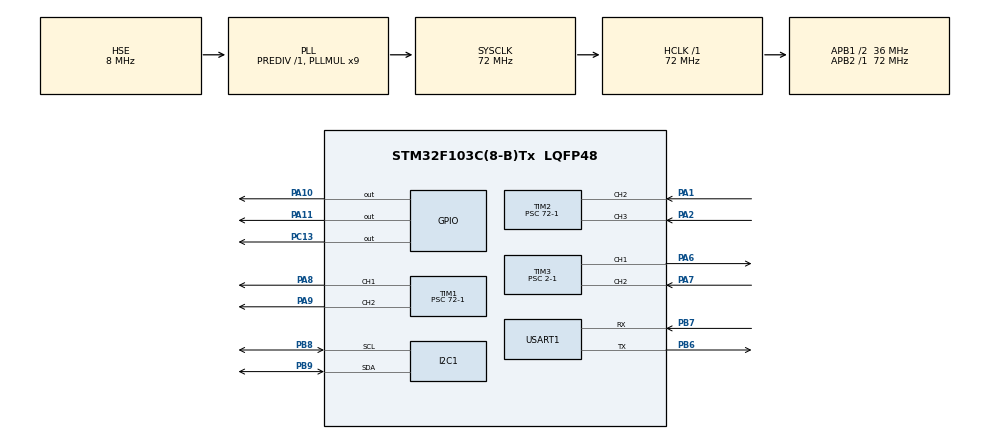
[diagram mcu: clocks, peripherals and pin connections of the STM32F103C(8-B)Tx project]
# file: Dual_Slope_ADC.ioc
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I2C1.I2C_Mode=I2C_Fast
Mcu.Family=STM32F1
Mcu.Name=STM32F103C(8-B)Tx
Mcu.Package=LQFP48
NVIC.PriorityGroup=NVIC_PRIORITYGROUP_4
NVIC.TIM2_IRQn=true\:0\:0\:false\:false\:true\:true\:true
PA1.Signal=S_TIM2_CH2
PA10.GPIO_Speed=GPIO_SPEED_FREQ_HIGH
PA10.Signal=GPIO_Output
PA11.GPIO_Speed=GPIO_SPEED_FREQ_HIGH
PA11.Signal=GPIO_Output
PA13.Mode=Serial_Wire
PA13.Signal=SYS_JTMS-SWDIO
PA14.Mode=Serial_Wire
PA14.Signal=SYS_JTCK-SWCLK
PA2.Signal=S_TIM2_CH3
PA6.Signal=S_TIM3_CH1
PA7.Signal=S_TIM3_CH2
PA8.Signal=S_TIM1_CH1
PA9.Signal=S_TIM1_CH2
PB6.Mode=Asynchronous
PB6.Signal=USART1_TX
PB7.Mode=Asynchronous
PB7.Signal=USART1_RX
PB8.Mode=I2C
PB8.Signal=I2C1_SCL
PB9.Mode=I2C
PB9.Signal=I2C1_SDA
PC13-TAMPER-RTC.Signal=GPIO_Output
PD0-OSC_IN.Mode=HSE-External-Oscillator
PD0-OSC_IN.Signal=RCC_OSC_IN
PD1-OSC_OUT.Mode=HSE-External-Oscillator
PD1-OSC_OUT.Signal=RCC_OSC_OUT
ProjectManager.HeapSize=0x200
ProjectManager.StackSize=0x400
ProjectManager.TargetToolchain=STM32CubeIDE
RCC.AHBFreq_Value=72000000
RCC.APB1CLKDivider=RCC_HCLK_DIV2
RCC.APB1Freq_Value=36000000
RCC.APB1TimFreq_Value=72000000
RCC.APB2Freq_Value=72000000
RCC.APB2TimFreq_Value=72000000
RCC.HCLKFreq_Value=72000000
RCC.PLLMUL=RCC_PLL_MUL9
RCC.PLLSourceVirtual=RCC_PLLSOURCE_HSE
RCC.SYSCLKFreq_VALUE=72000000
RCC.SYSCLKSource=RCC_SYSCLKSOURCE_PLLCLK
RCC.USBFreq_Value=72000000
SH.S_TIM1_CH1.0=TIM1_CH1,PWM Generation1 CH1
SH.S_TIM1_CH2.0=TIM1_CH2,PWM Generation2 CH2
SH.S_TIM2_CH2.0=TIM2_CH2,Input_Capture2_from_TI2
SH.S_TIM2_CH3.0=TIM2_CH3,Input_Capture3_from_TI3
SH.S_TIM3_CH1.0=TIM3_CH1,PWM Generation1 CH1
SH.S_TIM3_CH2.0=TIM3_CH2,TriggerSource_TI2FP2
TIM1.Channel-PWM\ Generation1\ CH1=TIM_CHANNEL_1
TIM1.Channel-PWM\ Generation2\ CH2=TIM_CHANNEL_2
TIM1.Period=100
TIM1.Prescaler=72-1
TIM1.Pulse-PWM\ Generation1\ CH1=50
TIM1.Pulse-PWM\ Generation2\ CH2=360
TIM2.Channel-Input_Capture2_from_TI2=TIM_CHANNEL_2
TIM2.Channel-Input_Capture3_from_TI3=TIM_CHANNEL_3
TIM2.ICPolarity_CH2=TIM_INPUTCHANNELPOLARITY_FALLING
TIM2.ICPolarity_CH3=TIM_INPUTCHANNELPOLARITY_RISING
TIM2.Period=1000
TIM2.Prescaler=72-1
TIM3.Channel-PWM\ Generation1\ CH1=TIM_CHANNEL_1
TIM3.OCFastMode_PWM-PWM\ Generation1\ CH1=TIM_OCFAST_ENABLE
TIM3.OCMode_PWM-PWM\ Generation1\ CH1=TIM_OCMODE_PWM2
TIM3.Period=3600
TIM3.Prescaler=2-1
TIM3.Pulse-PWM\ Generation1\ CH1=36
USART1.VirtualMode=VM_ASYNC
VP_TIM1_VS_ClockSourceINT.Mode=Internal
VP_TIM3_VS_ClockSourceINT.Mode=Internal
VP_TIM3_VS_ControllerModeTrigger.Mode=Trigger Mode
VP_TIM3_VS_OPM.Mode=OPM_bit
board=custom

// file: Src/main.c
/* USER CODE BEGIN Header */
/**
  ******************************************************************************
  * @file           : main.c
  * @brief          : Main program body
  ******************************************************************************
  * @attention
  *
  * <h2><center>&copy; Copyright (c) 2019 STMicroelectronics.
  * All rights reserved.</center></h2>
  *
  * This software component is licensed by ST under BSD 3-Clause license,
  * the "License"; You may not use this file except in compliance with the
  * License. You may obtain a copy of the License at:
  *                        opensource.org/licenses/BSD-3-Clause
  *
  ******************************************************************************
  */
/* USER CODE END Header */

#include "main.h"

/* USER CODE BEGIN Includes */

//#include "led.h"
//#include "bar_graph.h"
#include <stdio.h>
/* USER CODE END Includes */

/* USER CODE BEGIN PM */
uint32_t IC_Value = 0;
uint32_t Timer2_overflow =0;
/* USER CODE END PM */

I2C_HandleTypeDef hi2c1;

TIM_HandleTypeDef htim1;
TIM_HandleTypeDef htim2;
TIM_HandleTypeDef htim3;

UART_HandleTypeDef huart1;

/* USER CODE BEGIN PV */
uint8_t GPIO_TI_FLAG = 0;
int callTime = 0;
/* USER CODE END PV */

void SystemClock_Config(void);
static void MX_GPIO_Init(void);
static void MX_TIM2_Init(void);
static void MX_I2C1_Init(void);
static void MX_TIM3_Init(void);
static void MX_TIM1_Init(void);
static void MX_USART1_UART_Init(void);
/* USER CODE BEGIN PFP */
void hardwareInit(GPIO_TypeDef *MuxGPIOx, uint16_t MuxGPIO_Pin, GPIO_TypeDef *BjtGPIOx, uint16_t BjtGPIO_Pin);
void getCounterValue(TIM_HandleTypeDef *htim);
double convertTimerValueToVoltage(float Vref, float dischargeTime_us, float chargeTimeFix_us);
/* USER CODE END PFP */

/* USER CODE BEGIN 0 */

/**
  * @brief  Initializes the hardware by disable the multiplexer (not receive Vin and Vref) and
  *         enable the BJT (to input a voltage (3V) to charge up capacitor then
  *         switch back to multiplexer input ( Vref of capacitor to discharge) by
  *         enable multiplexer and disable forever the BJT.
  * @param  MuxGPIOx: where x can be (A..G depending on device used) to select the GPIO peripheral
  * @param  MuxGPIO_Pin: specifies the port bit to be written.
  *         This parameter can be one of GPIO_PIN_x where x can be (0..15).
  * @param  BjtGPIOx: where x can be (A..G depending on device used) to select the GPIO peripheral
  * @param  BjtGPIO_Pin: specifies the port bit to be written.
  *         This parameter can be one of GPIO_PIN_x where x can be (0..15).
  * @retval None
  */
void hardwareInit(GPIO_TypeDef *MuxGPIOx, uint16_t MuxGPIO_Pin, GPIO_TypeDef *BjtGPIOx, uint16_t BjtGPIO_Pin)
{

	HAL_GPIO_WritePin(MuxGPIOx, MuxGPIO_Pin, GPIO_PIN_RESET);  	//disable Multiplexer
	HAL_GPIO_WritePin(BjtGPIOx, BjtGPIO_Pin, GPIO_PIN_RESET);	//enable bjt
	HAL_Delay(1000);
	HAL_GPIO_TogglePin(BjtGPIOx, BjtGPIO_Pin);	//disable bjt
	HAL_GPIO_TogglePin(MuxGPIOx, MuxGPIO_Pin);	//enable Multiplexer (select 0 for Vref -1V)
}

/**
  * @brief  To calculate the Voltage value base on the fixed capacitor charging time,
  *         discharging time and the Vref (-1V in this case).
  *
  *         Formula:
  *         dischargeTime			 Vin
  *         -------------	=	-------------
  *         chargeTimeFix			-Vref
  *
  * @param  Vref: -1V in this case just ignore -VE and put (1).
  * @param  dischargeTime_us: the value of capacitor discharge in micro second.
  * @param  chargeTimeFix_us: a fix value for capacitor charge Time
  * 		which is 100us in this charge just put (100).
  * @retval result voltage value, data type is double.
  */
double convertTimerValueToVoltage(float Vref, float dischargeTime_us, float chargeTimeFix_us)
{
	return (((dischargeTime_us*1.0f)/(chargeTimeFix_us*1.0f))*Vref);
}

/**
  * @brief  Get Input Capture value according to the specified Channels:
  *         Channels 2 to reset Timer value when detect falling edge.
  *         Channels 3 to Capture Timer value when detect raising edge.
  * @param  htim TIM IC handle in this case is Timer2.
  * @retval None
  */
void getCounterValue(TIM_HandleTypeDef *htim)
{
	if (htim -> Channel == HAL_TIM_ACTIVE_CHANNEL_2)// if the interrupt source is channel2(falling edge)
	{
		__HAL_TIM_SET_COUNTER(htim, 0);// reset the counter
	}
	else if(htim -> Channel == HAL_TIM_ACTIVE_CHANNEL_3)// if the interrupt source is channel3(raising edge)
	{
		IC_Value = HAL_TIM_ReadCapturedValue(htim, TIM_CHANNEL_3);
	}
	else
	{
		IC_Value = 0;
	}
}

void HAL_TIM_IC_CaptureCallback(TIM_HandleTypeDef *htim)
{
	getCounterValue(htim);
}

void HAL_TIM_PeriodElapsedCallback(TIM_HandleTypeDef *htim)
{
	if(htim->Instance == TIM2)
	{
		Timer2_overflow++;
	}
}
/* USER CODE END 0 */

int main(void)
{

  /* MCU Configuration--------------------------------------------------------*/

  /* Reset of all peripherals, Initializes the Flash interface and the Systick. */
  HAL_Init();

  /* USER CODE BEGIN Init */
    uint16_t Result;
    char str_buff [50];
    double voltage = 0;
  /* USER CODE END Init */

  /* Configure the system clock */
  SystemClock_Config();

  /* Initialize all configured peripherals */
  MX_GPIO_Init();
  MX_TIM2_Init();
  MX_I2C1_Init();
  MX_TIM3_Init();
  MX_TIM1_Init();
  MX_USART1_UART_Init();
  /* USER CODE BEGIN 2 */
    HAL_TIM_Base_Start_IT(&htim2);
    HAL_TIM_PWM_Start(&htim1, TIM_CHANNEL_1);
    HAL_TIM_IC_Start_IT(&htim2, TIM_CHANNEL_2);
    HAL_TIM_IC_Start_IT(&htim2, TIM_CHANNEL_3);
    HAL_TIM_OnePulse_Start(&htim3, TIM_CHANNEL_1);

    hardwareInit(GPIOA, GPIO_PIN_10,GPIOA, GPIO_PIN_11);
  /* USER CODE END 2 */

  /* Infinite loop */
  while (1)
  {

    /* USER CODE BEGIN 3 */
	if(Timer2_overflow >= 2000)
	{
	  hardwareInit(GPIOA, GPIO_PIN_10,GPIOA, GPIO_PIN_11);
	  Timer2_overflow = 0;
	  IC_Value = 0;
	}
	  Result = IC_Value;
	  voltage = convertTimerValueToVoltage(1, (float)Result ,100);
	  sprintf( (char*)str_buff, " Discharge Time is: %d , Voltage : %.2f\n", Result,voltage);
	  HAL_UART_Transmit(&huart1, (uint8_t*)str_buff, sizeof(str_buff), 100);
	  HAL_Delay (500);
  }
  /* USER CODE END 3 */
}

void SystemClock_Config(void)
{
  RCC_OscInitTypeDef RCC_OscInitStruct = {0};
  RCC_ClkInitTypeDef RCC_ClkInitStruct = {0};

  /** Initializes the CPU, AHB and APB busses clocks
  */
  RCC_OscInitStruct.OscillatorType = RCC_OSCILLATORTYPE_HSE;
  RCC_OscInitStruct.HSEState = RCC_HSE_ON;
  RCC_OscInitStruct.HSEPredivValue = RCC_HSE_PREDIV_DIV1;
  RCC_OscInitStruct.HSIState = RCC_HSI_ON;
  RCC_OscInitStruct.PLL.PLLState = RCC_PLL_ON;
  RCC_OscInitStruct.PLL.PLLSource = RCC_PLLSOURCE_HSE;
  RCC_OscInitStruct.PLL.PLLMUL = RCC_PLL_MUL9;
  if (HAL_RCC_OscConfig(&RCC_OscInitStruct) != HAL_OK)
  {
    Error_Handler();
  }
  /** Initializes the CPU, AHB and APB busses clocks
  */
  RCC_ClkInitStruct.ClockType = RCC_CLOCKTYPE_HCLK|RCC_CLOCKTYPE_SYSCLK
                              |RCC_CLOCKTYPE_PCLK1|RCC_CLOCKTYPE_PCLK2;
  RCC_ClkInitStruct.SYSCLKSource = RCC_SYSCLKSOURCE_PLLCLK;
  RCC_ClkInitStruct.AHBCLKDivider = RCC_SYSCLK_DIV1;
  RCC_ClkInitStruct.APB1CLKDivider = RCC_HCLK_DIV2;
  RCC_ClkInitStruct.APB2CLKDivider = RCC_HCLK_DIV1;

  if (HAL_RCC_ClockConfig(&RCC_ClkInitStruct, FLASH_LATENCY_2) != HAL_OK)
  {
    Error_Handler();
  }
}

static void MX_I2C1_Init(void)
{

  hi2c1.Instance = I2C1;
  hi2c1.Init.ClockSpeed = 400000;
  hi2c1.Init.DutyCycle = I2C_DUTYCYCLE_2;
  hi2c1.Init.OwnAddress1 = 0;
  hi2c1.Init.AddressingMode = I2C_ADDRESSINGMODE_7BIT;
  hi2c1.Init.DualAddressMode = I2C_DUALADDRESS_DISABLE;
  hi2c1.Init.OwnAddress2 = 0;
  hi2c1.Init.GeneralCallMode = I2C_GENERALCALL_DISABLE;
  hi2c1.Init.NoStretchMode = I2C_NOSTRETCH_DISABLE;
  if (HAL_I2C_Init(&hi2c1) != HAL_OK)
  {
    Error_Handler();
  }

}

static void MX_TIM1_Init(void)
{

  TIM_ClockConfigTypeDef sClockSourceConfig = {0};
  TIM_MasterConfigTypeDef sMasterConfig = {0};
  TIM_OC_InitTypeDef sConfigOC = {0};
  TIM_BreakDeadTimeConfigTypeDef sBreakDeadTimeConfig = {0};

  htim1.Instance = TIM1;
  htim1.Init.Prescaler = 72-1;
  htim1.Init.CounterMode = TIM_COUNTERMODE_UP;
  htim1.Init.Period = 100;
  htim1.Init.ClockDivision = TIM_CLOCKDIVISION_DIV1;
  htim1.Init.RepetitionCounter = 0;
  htim1.Init.AutoReloadPreload = TIM_AUTORELOAD_PRELOAD_DISABLE;
  if (HAL_TIM_Base_Init(&htim1) != HAL_OK)
  {
    Error_Handler();
  }
  sClockSourceConfig.ClockSource = TIM_CLOCKSOURCE_INTERNAL;
  if (HAL_TIM_ConfigClockSource(&htim1, &sClockSourceConfig) != HAL_OK)
  {
    Error_Handler();
  }
  if (HAL_TIM_PWM_Init(&htim1) != HAL_OK)
  {
    Error_Handler();
  }
  sMasterConfig.MasterOutputTrigger = TIM_TRGO_RESET;
  sMasterConfig.MasterSlaveMode = TIM_MASTERSLAVEMODE_DISABLE;
  if (HAL_TIMEx_MasterConfigSynchronization(&htim1, &sMasterConfig) != HAL_OK)
  {
    Error_Handler();
  }
  sConfigOC.OCMode = TIM_OCMODE_PWM1;
  sConfigOC.Pulse = 50;
  sConfigOC.OCPolarity = TIM_OCPOLARITY_HIGH;
  sConfigOC.OCNPolarity = TIM_OCNPOLARITY_HIGH;
  sConfigOC.OCFastMode = TIM_OCFAST_DISABLE;
  sConfigOC.OCIdleState = TIM_OCIDLESTATE_RESET;
  sConfigOC.OCNIdleState = TIM_OCNIDLESTATE_RESET;
  if (HAL_TIM_PWM_ConfigChannel(&htim1, &sConfigOC, TIM_CHANNEL_1) != HAL_OK)
  {
    Error_Handler();
  }
  sConfigOC.Pulse = 360;
  if (HAL_TIM_PWM_ConfigChannel(&htim1, &sConfigOC, TIM_CHANNEL_2) != HAL_OK)
  {
    Error_Handler();
  }
  sBreakDeadTimeConfig.OffStateRunMode = TIM_OSSR_DISABLE;
  sBreakDeadTimeConfig.OffStateIDLEMode = TIM_OSSI_DISABLE;
  sBreakDeadTimeConfig.LockLevel = TIM_LOCKLEVEL_OFF;
  sBreakDeadTimeConfig.DeadTime = 0;
  sBreakDeadTimeConfig.BreakState = TIM_BREAK_DISABLE;
  sBreakDeadTimeConfig.BreakPolarity = TIM_BREAKPOLARITY_HIGH;
  sBreakDeadTimeConfig.AutomaticOutput = TIM_AUTOMATICOUTPUT_DISABLE;
  if (HAL_TIMEx_ConfigBreakDeadTime(&htim1, &sBreakDeadTimeConfig) != HAL_OK)
  {
    Error_Handler();
  }
  HAL_TIM_MspPostInit(&htim1);

}

static void MX_TIM2_Init(void)
{

  TIM_MasterConfigTypeDef sMasterConfig = {0};
  TIM_IC_InitTypeDef sConfigIC = {0};

  htim2.Instance = TIM2;
  htim2.Init.Prescaler = 72-1;
  htim2.Init.CounterMode = TIM_COUNTERMODE_UP;
  htim2.Init.Period = 1000;
  htim2.Init.ClockDivision = TIM_CLOCKDIVISION_DIV1;
  htim2.Init.AutoReloadPreload = TIM_AUTORELOAD_PRELOAD_DISABLE;
  if (HAL_TIM_IC_Init(&htim2) != HAL_OK)
  {
    Error_Handler();
  }
  sMasterConfig.MasterOutputTrigger = TIM_TRGO_RESET;
  sMasterConfig.MasterSlaveMode = TIM_MASTERSLAVEMODE_DISABLE;
  if (HAL_TIMEx_MasterConfigSynchronization(&htim2, &sMasterConfig) != HAL_OK)
  {
    Error_Handler();
  }
  sConfigIC.ICPolarity = TIM_INPUTCHANNELPOLARITY_FALLING;
  sConfigIC.ICSelection = TIM_ICSELECTION_DIRECTTI;
  sConfigIC.ICPrescaler = TIM_ICPSC_DIV1;
  sConfigIC.ICFilter = 0;
  if (HAL_TIM_IC_ConfigChannel(&htim2, &sConfigIC, TIM_CHANNEL_2) != HAL_OK)
  {
    Error_Handler();
  }
  sConfigIC.ICPolarity = TIM_INPUTCHANNELPOLARITY_RISING;
  if (HAL_TIM_IC_ConfigChannel(&htim2, &sConfigIC, TIM_CHANNEL_3) != HAL_OK)
  {
    Error_Handler();
  }

}

static void MX_TIM3_Init(void)
{

  TIM_ClockConfigTypeDef sClockSourceConfig = {0};
  TIM_SlaveConfigTypeDef sSlaveConfig = {0};
  TIM_MasterConfigTypeDef sMasterConfig = {0};
  TIM_OC_InitTypeDef sConfigOC = {0};

  htim3.Instance = TIM3;
  htim3.Init.Prescaler = 2-1;
  htim3.Init.CounterMode = TIM_COUNTERMODE_UP;
  htim3.Init.Period = 3600;
  htim3.Init.ClockDivision = TIM_CLOCKDIVISION_DIV1;
  htim3.Init.AutoReloadPreload = TIM_AUTORELOAD_PRELOAD_DISABLE;
  if (HAL_TIM_Base_Init(&htim3) != HAL_OK)
  {
    Error_Handler();
  }
  sClockSourceConfig.ClockSource = TIM_CLOCKSOURCE_INTERNAL;
  if (HAL_TIM_ConfigClockSource(&htim3, &sClockSourceConfig) != HAL_OK)
  {
    Error_Handler();
  }
  if (HAL_TIM_PWM_Init(&htim3) != HAL_OK)
  {
    Error_Handler();
  }
  if (HAL_TIM_OnePulse_Init(&htim3, TIM_OPMODE_SINGLE) != HAL_OK)
  {
    Error_Handler();
  }
  sSlaveConfig.SlaveMode = TIM_SLAVEMODE_TRIGGER;
  sSlaveConfig.InputTrigger = TIM_TS_TI2FP2;
  sSlaveConfig.TriggerPolarity = TIM_TRIGGERPOLARITY_RISING;
  sSlaveConfig.TriggerFilter = 0;
  if (HAL_TIM_SlaveConfigSynchro(&htim3, &sSlaveConfig) != HAL_OK)
  {
    Error_Handler();
  }
  sMasterConfig.MasterOutputTrigger = TIM_TRGO_RESET;
  sMasterConfig.MasterSlaveMode = TIM_MASTERSLAVEMODE_DISABLE;
  if (HAL_TIMEx_MasterConfigSynchronization(&htim3, &sMasterConfig) != HAL_OK)
  {
    Error_Handler();
  }
  sConfigOC.OCMode = TIM_OCMODE_PWM2;
  sConfigOC.Pulse = 36;
  sConfigOC.OCPolarity = TIM_OCPOLARITY_HIGH;
  sConfigOC.OCFastMode = TIM_OCFAST_ENABLE;
  if (HAL_TIM_PWM_ConfigChannel(&htim3, &sConfigOC, TIM_CHANNEL_1) != HAL_OK)
  {
    Error_Handler();
  }
  HAL_TIM_MspPostInit(&htim3);

}

static void MX_USART1_UART_Init(void)
{

  huart1.Instance = USART1;
  huart1.Init.BaudRate = 115200;
  huart1.Init.WordLength = UART_WORDLENGTH_8B;
  huart1.Init.StopBits = UART_STOPBITS_1;
  huart1.Init.Parity = UART_PARITY_NONE;
  huart1.Init.Mode = UART_MODE_TX_RX;
  huart1.Init.HwFlowCtl = UART_HWCONTROL_NONE;
  huart1.Init.OverSampling = UART_OVERSAMPLING_16;
  if (HAL_UART_Init(&huart1) != HAL_OK)
  {
    Error_Handler();
  }

}

static void MX_GPIO_Init(void)
{
  GPIO_InitTypeDef GPIO_InitStruct = {0};

  /* GPIO Ports Clock Enable */
  __HAL_RCC_GPIOC_CLK_ENABLE();
  __HAL_RCC_GPIOD_CLK_ENABLE();
  __HAL_RCC_GPIOA_CLK_ENABLE();
  __HAL_RCC_GPIOB_CLK_ENABLE();

  /*Configure GPIO pin Output Level */
  HAL_GPIO_WritePin(GPIOC, GPIO_PIN_13, GPIO_PIN_RESET);

  /*Configure GPIO pin Output Level */
  HAL_GPIO_WritePin(GPIOA, GPIO_PIN_10|GPIO_PIN_11, GPIO_PIN_RESET);

  /*Configure GPIO pin : PC13 */
  GPIO_InitStruct.Pin = GPIO_PIN_13;
  GPIO_InitStruct.Mode = GPIO_MODE_OUTPUT_PP;
  GPIO_InitStruct.Pull = GPIO_NOPULL;
  GPIO_InitStruct.Speed = GPIO_SPEED_FREQ_LOW;
  HAL_GPIO_Init(GPIOC, &GPIO_InitStruct);

  /*Configure GPIO pins : PA10 PA11 */
  GPIO_InitStruct.Pin = GPIO_PIN_10|GPIO_PIN_11;
  GPIO_InitStruct.Mode = GPIO_MODE_OUTPUT_PP;
  GPIO_InitStruct.Pull = GPIO_NOPULL;
  GPIO_InitStruct.Speed = GPIO_SPEED_FREQ_HIGH;
  HAL_GPIO_Init(GPIOA, &GPIO_InitStruct);

}

void Error_Handler(void)
{
}

/************************ (C) COPYRIGHT STMicroelectronics *****END OF FILE****/
